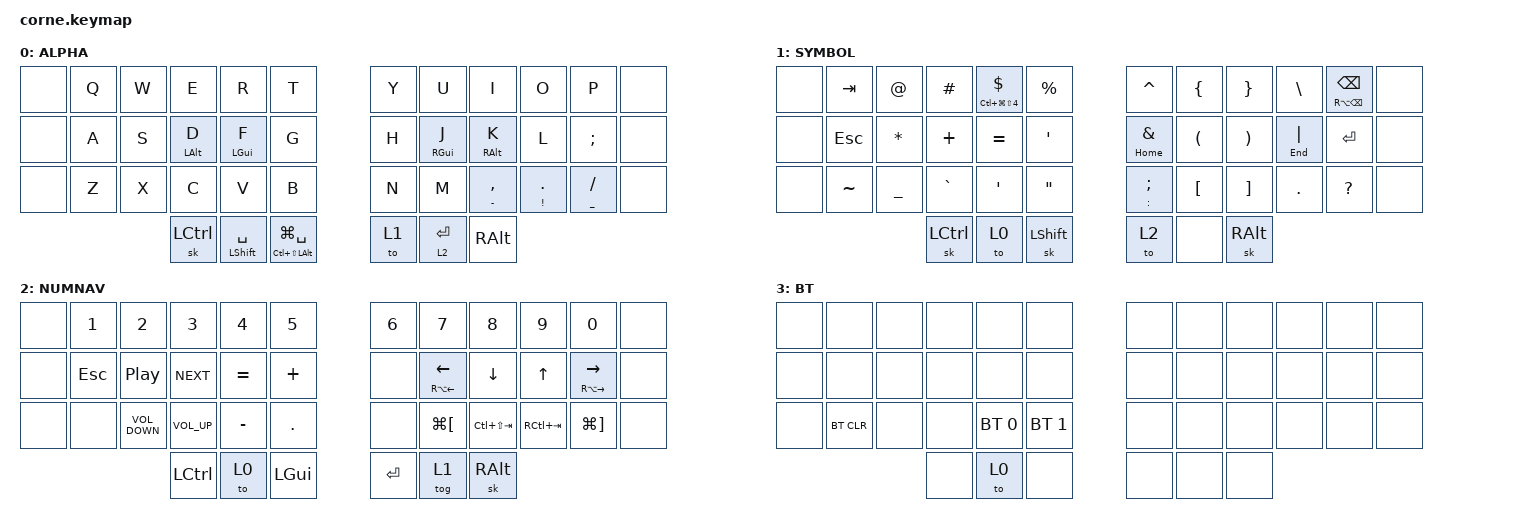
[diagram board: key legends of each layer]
/*
 * Copyright (c) 2020 The ZMK Contributors
 *
 * SPDX-License-Identifier: MIT
 */

#include <behaviors.dtsi>
#include <dt-bindings/zmk/bt.h>
#include <dt-bindings/zmk/keys.h>

&mt {
    tapping-term-ms = <280>;
    flavor = "tap-preferred";
};

/ {
    combos {
        compatible = "zmk,combos";

        activatelayer3 {
            bindings = <&mo 3>;
            key-positions = <38 39 37>;
        };
    };

    behaviors {
        td: tapdance {
            compatible = "zmk,behavior-hold-tap";
            label = "TAPDANCE";
            bindings = <&kp>, <&kp>;

            #binding-cells = <2>;
            tapping-term-ms = <150>;
            quick-tap-ms = <0>;
            flavor = "tap-preferred";
        };

        hm: homerow_mods {
            compatible = "zmk,behavior-hold-tap";
            label = "HOMEROW_MODS";
            bindings = <&kp>, <&kp>;

            #binding-cells = <2>;
            tapping-term-ms = <280>;
            quick-tap-ms = <0>;
            flavor = "tap-preferred";
        };
    };

    keymap {
        compatible = "zmk,keymap";

        alpha {
            display-name = "ALPHA";
            // -----------------------------------------------------------------------------------------
            // |  TAB |  Q  |  W  |  E  |  R  |  T  |   |  Y  |  U   |  I  |  O  |  P  | BKSP |
            // | CTRL |  A  |  S  |  D  |  F  |  G  |   |  H  |  J   |  K  |  L  |  ;  |  '   |
            // | SHFT |  Z  |  X  |  C  |  V  |  B  |   |  N  |  M   |  ,  |  .  |  /  | ESC  |
            //                    | GUI | LWR | SPC |   | ENT | RSE  | ALT |

            bindings = <
&none  &kp Q  &kp W  &kp E       &kp R            &kp T                         &kp Y  &kp U        &kp I            &kp O                   &kp P                 &none
&none  &kp A  &kp S  &hm LALT D  &hm LGUI F       &kp G                         &kp H  &hm RGUI J   &hm RALT K       &kp L                   &kp SEMI              &none
&none  &kp Z  &kp X  &kp C       &kp V            &kp B                         &kp N  &kp M        &td MINUS COMMA  &td EXCLAMATION PERIOD  &td UNDERSCORE SLASH  &none
                     &sk LCTRL   &mt LSHFT SPACE  &mt LC(LS(LALT)) LG(SPACE)    &to 1  &lt 2 ENTER  &kp RALT
            >;
        };

        symbol {
            display-name = "SYMBOL";
            bindings = <
&none  &kp TAB    &kp AT        &kp HASH   &td LC(LG(LS(N4))) DOLLAR  &kp PERCENT          &kp CARET            &kp LEFT_BRACE        &kp RIGHT_BRACE        &kp BACKSLASH  &mt RA(BACKSPACE) BACKSPACE  &none
&none  &kp ESC    &kp ASTERISK  &kp PLUS   &kp EQUAL                  &kp APOS             &td HOME AMPERSAND   &kp LEFT_PARENTHESIS  &kp RIGHT_PARENTHESIS  &td END PIPE   &kp ENTER                    &none
&none  &kp TILDE  &kp UNDER     &kp GRAVE  &kp SINGLE_QUOTE           &kp DOUBLE_QUOTES    &td COLON SEMICOLON  &kp LEFT_BRACKET      &kp RIGHT_BRACKET      &kp DOT        &kp QUESTION                 &none
                                &sk LCTRL  &to 0                      &sk LEFT_SHIFT       &to 2                &none                 &sk RALT
            >;
        };

        num_nav {
            display-name = "NUMNAV";
            // -----------------------------------------------------------------------------------------
            // |  TAB |  1  |  2  |  3  |  4  |  5  |   |  6  |  7  |  8  |  9  |  0  | BKSP |
            // | BTCLR| BT1 | BT2 | BT3 | BT4 | BT5 |   | LFT | DWN |  UP | RGT |     |      |
            // | SHFT |     |     |     |     |     |   |     |     |     |     |     |      |
            //                    | GUI |     | SPC |   | ENT |     | ALT |

            bindings = <
&none  &kp N1   &kp N2             &kp N3           &kp N4     &kp N5      &kp N6   &kp N7             &kp N8           &kp N9       &kp N0               &none
&none  &kp ESC  &kp C_PP           &kp C_NEXT       &kp EQUAL  &kp PLUS    &none    &mt RA(LEFT) LEFT  &kp DOWN         &kp UP       &mt RA(RIGHT) RIGHT  &none
&none  &none    &kp C_VOLUME_DOWN  &kp C_VOLUME_UP  &kp MINUS  &kp DOT     &none    &kp LG(LBKT)       &kp LC(LS(TAB))  &kp RC(TAB)  &kp LG(RBKT)         &none
                                   &kp LCTRL        &to 0      &kp LGUI    &kp RET  &tog 1             &sk RALT
            >;
        };

        bluetooth {
            display-name = "BT";
            bindings = <
&none  &none       &none  &none  &none         &none           &none  &none  &none  &none  &none  &none
&none  &none       &none  &none  &none         &none           &none  &none  &none  &none  &none  &none
&none  &bt BT_CLR  &none  &none  &bt BT_SEL 0  &bt BT_SEL 1    &none  &none  &none  &none  &none  &none
                          &none  &to 0         &none           &none  &none  &none
            >;
        };
    };
};
